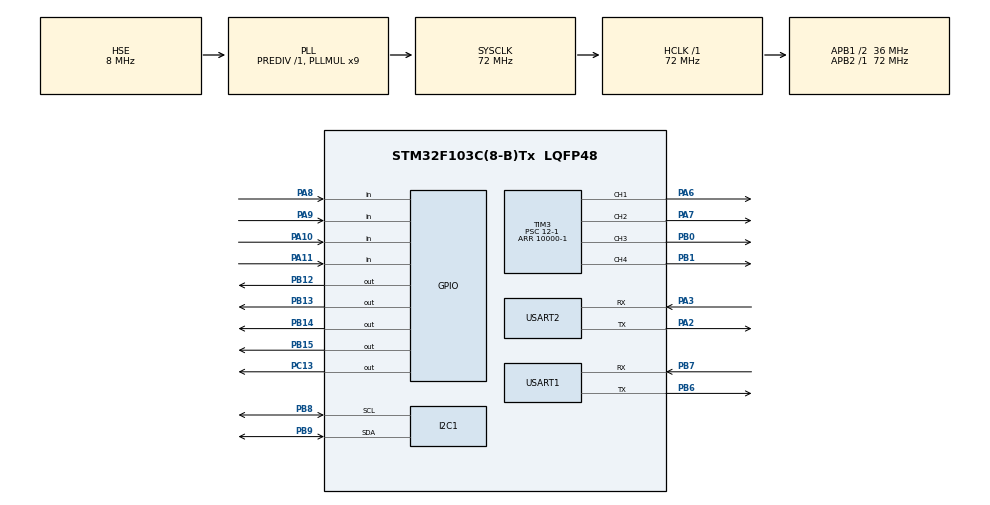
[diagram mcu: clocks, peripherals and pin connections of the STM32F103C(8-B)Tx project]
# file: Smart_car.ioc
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Mcu.Family=STM32F1
Mcu.Name=STM32F103C(8-B)Tx
Mcu.Package=LQFP48
NVIC.PriorityGroup=NVIC_PRIORITYGROUP_4
NVIC.TIM2_IRQn=true\:0\:0\:false\:false\:true\:true\:true\:true
NVIC.USART2_IRQn=true\:0\:0\:false\:false\:true\:true\:true\:true
PA10.GPIO_PuPd=GPIO_PULLUP
PA10.Signal=GPIO_Input
PA11.GPIO_PuPd=GPIO_PULLUP
PA11.Signal=GPIO_Input
PA13.Mode=Serial_Wire
PA13.Signal=SYS_JTMS-SWDIO
PA14.Mode=Serial_Wire
PA14.Signal=SYS_JTCK-SWCLK
PA2.Mode=Asynchronous
PA2.Signal=USART2_TX
PA3.Mode=Asynchronous
PA3.Signal=USART2_RX
PA6.Signal=S_TIM3_CH1
PA7.Signal=S_TIM3_CH2
PA8.GPIO_PuPd=GPIO_PULLUP
PA8.Signal=GPIO_Input
PA9.Signal=GPIO_Input
PB0.Signal=S_TIM3_CH3
PB1.Signal=S_TIM3_CH4
PB10.Signal=I2C2_SCL
PB11.Signal=I2C2_SDA
PB12.Signal=GPIO_Output
PB13.Signal=GPIO_Output
PB14.Signal=GPIO_Output
PB15.Signal=GPIO_Output
PB6.Mode=Asynchronous
PB6.Signal=USART1_TX
PB7.Mode=Asynchronous
PB7.Signal=USART1_RX
PB8.Mode=I2C
PB8.Signal=I2C1_SCL
PB9.Mode=I2C
PB9.Signal=I2C1_SDA
PC13-TAMPER-RTC.Signal=GPIO_Output
PD0-OSC_IN.Mode=HSE-External-Oscillator
PD0-OSC_IN.Signal=RCC_OSC_IN
PD1-OSC_OUT.Mode=HSE-External-Oscillator
PD1-OSC_OUT.Signal=RCC_OSC_OUT
ProjectManager.HeapSize=0x200
ProjectManager.StackSize=0x400
ProjectManager.TargetToolchain=MDK-ARM V5.32
RCC.AHBFreq_Value=72000000
RCC.APB1CLKDivider=RCC_HCLK_DIV2
RCC.APB1Freq_Value=36000000
RCC.APB1TimFreq_Value=72000000
RCC.APB2Freq_Value=72000000
RCC.APB2TimFreq_Value=72000000
RCC.HCLKFreq_Value=72000000
RCC.PLLMUL=RCC_PLL_MUL9
RCC.PLLSourceVirtual=RCC_PLLSOURCE_HSE
RCC.SYSCLKFreq_VALUE=72000000
RCC.SYSCLKSource=RCC_SYSCLKSOURCE_PLLCLK
RCC.USBFreq_Value=72000000
SH.S_TIM3_CH1.0=TIM3_CH1,PWM Generation1 CH1
SH.S_TIM3_CH2.0=TIM3_CH2,PWM Generation2 CH2
SH.S_TIM3_CH3.0=TIM3_CH3,PWM Generation3 CH3
SH.S_TIM3_CH4.0=TIM3_CH4,PWM Generation4 CH4
TIM2.AutoReloadPreload=TIM_AUTORELOAD_PRELOAD_ENABLE
TIM2.Period=19999
TIM2.Prescaler=719
TIM3.Channel-PWM\ Generation1\ CH1=TIM_CHANNEL_1
TIM3.Channel-PWM\ Generation2\ CH2=TIM_CHANNEL_2
TIM3.Channel-PWM\ Generation3\ CH3=TIM_CHANNEL_3
TIM3.Channel-PWM\ Generation4\ CH4=TIM_CHANNEL_4
TIM3.Period=10000-1
TIM3.Prescaler=12-1
USART1.VirtualMode=VM_ASYNC
USART2.VirtualMode=VM_ASYNC
VP_TIM2_VS_ClockSourceINT.Mode=Internal
VP_TIM3_VS_ClockSourceINT.Mode=Internal
board=custom

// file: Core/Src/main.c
/* USER CODE BEGIN Header */
/**
  ******************************************************************************
  * @file           : main.c
  * @brief          : Main program body
  ******************************************************************************
  * @attention
  *
  * Copyright (c) 2024 STMicroelectronics.
  * All rights reserved.
  *
  * This software is licensed under terms that can be found in the LICENSE file
  * in the root directory of this software component.
  * If no LICENSE file comes with this software, it is provided AS-IS.
  *
  ******************************************************************************
  */
/* USER CODE END Header */
#include "main.h"
#include "i2c.h"
#include "tim.h"
#include "usart.h"
#include "gpio.h"

/* USER CODE BEGIN Includes */
#include "L294N.h"
#include <stdio.h>
#include <String.h>
#include "OLED.h"
#include "vofa.h"
#include "matrix_keyboard.h"
#include "convert.h"
#include "pid.h"
#include "Bluetooth.h"

#include "math.h"
//#include "matrix_keyboard.h"
/* USER CODE BEGIN 4 */

/* USER CODE END 4 */

/* USER CODE END Includes */

void SystemClock_Config(void);

/* USER CODE BEGIN 0 */
int time=0;

int key1=3;

float a=0;
float t;
float b=10;

extern tPid pidMotor1Speed;
int flag1=1;

double Wave1=10;

double Wave2=10;

double pi=3.1415;

extern uint8_t rx_buff;

double A =2;  // 幅值
double B =4;
double sin_x;  // 计算正弦值
double K =0;
double T =6.28;

/* USER CODE END 0 */

int main(void)
{

  /* MCU Configuration--------------------------------------------------------*/

  /* Reset of all peripherals, Initializes the Flash interface and the Systick. */
  HAL_Init();

  /* Configure the system clock */
  SystemClock_Config();

  /* Initialize all configured peripherals */
  MX_GPIO_Init();
  MX_TIM2_Init();
  MX_TIM3_Init();
  MX_USART2_UART_Init();
  MX_I2C1_Init();
  MX_USART1_UART_Init();
  /* USER CODE BEGIN 2 */

  OLED_Init();
	PID_init();
	//HAL_UART_Receive_IT(&huart2,(uint8_t *)&USART2_RX_BUF,1);
	HAL_UART_Receive_IT(&huart1,(uint8_t *)&USART1_NewData,1);
	HAL_UART_Receive_IT(&huart2, (uint8_t *)&rx_buff, 1);
//	HAL_UART_Receive_IT(&huart2,(uint8_t *)&USART2_NewData,1);
  __HAL_TIM_CLEAR_IT(&htim2, TIM_IT_UPDATE);

  HAL_TIM_Base_Start_IT(&htim2);
	//HAL_TIM_Base_Start_IT(&htim2);

  HAL_TIM_PWM_Start(&htim3,TIM_CHANNEL_1);
  HAL_TIM_PWM_Start(&htim3,TIM_CHANNEL_2);
  HAL_TIM_PWM_Start(&htim3,TIM_CHANNEL_3);
  HAL_TIM_PWM_Start(&htim3,TIM_CHANNEL_4);

  /* USER CODE END 2 */

  /* Infinite loop */
  /* USER CODE BEGIN WHILE */

  while (1)
  {

//		for(K=0;K<T;K+=0.01){
//
//
//			if(K>=T){K=0;}
//    Wave1 = A*sin(K*pi);
//
//		Wave2 = B*sin(K*pi);
//
//
//		vodka_JustFloat_send(&huart2);
//		}
//		vodka_JustFloat_send(&huart2);

	/*	key1=Key_Scan();

		if(key1!=0){
		OLED_Clear();
		//OLED_ShowNum(1,1,key1,3,16);

	}
	OLED_Showdecimal(0,0,num,3,1,16);
	OLED_Showdecimal(0,2,num2,3,1,16);
	OLED_Showdecimal(0,4,num3,3,1,16);

	if(num=='u'){
	Forward();
	}
	if(num=='l'){
	Left();
	}
	if(num=='r'){
	Right();
	}
	if(num=='d'){
	Back();
	}
	if(num=='0'){
	Reset();
	}*/

//OLED_Showdecimal(0,6,USART1_RX_STA,3,1,16);

	    /* PID_realize(&pidMotor1Speed,t);

        t+= 0.01*PID_x(set_Speed,t,0,0.1,3.5); //（目标值，现值，p,i,d）

        if (t >= set_Speed&&flag1==1)   // 达到上限或下限时改变方向
        {
            set_Speed = -set_Speed;    //set_Speed是极值
					flag1=0;
        }
				 if (t <= set_Speed&&flag1==0)   // 达到上限或下限时改变方向
        {
            set_Speed = -set_Speed;

					flag1=1;
        }

	*/

 // printf("%d",a);

	 	//TargetTracking();
		// HAL_GPIO_WritePin(LED_GPIO_Port, LED_Pin, GPIO_PIN_RESET);

		 //OLED_ShowNum(1,1,key1,3,16);
		// OLED_Draw12864BMP(1);
		//Forward();

    /* USER CODE END WHILE */

  }
}

void SystemClock_Config(void)
{
  RCC_OscInitTypeDef RCC_OscInitStruct = {0};
  RCC_ClkInitTypeDef RCC_ClkInitStruct = {0};

  /** Initializes the RCC Oscillators according to the specified parameters
  * in the RCC_OscInitTypeDef structure.
  */
  RCC_OscInitStruct.OscillatorType = RCC_OSCILLATORTYPE_HSE;
  RCC_OscInitStruct.HSEState = RCC_HSE_ON;
  RCC_OscInitStruct.HSEPredivValue = RCC_HSE_PREDIV_DIV1;
  RCC_OscInitStruct.HSIState = RCC_HSI_ON;
  RCC_OscInitStruct.PLL.PLLState = RCC_PLL_ON;
  RCC_OscInitStruct.PLL.PLLSource = RCC_PLLSOURCE_HSE;
  RCC_OscInitStruct.PLL.PLLMUL = RCC_PLL_MUL9;
  if (HAL_RCC_OscConfig(&RCC_OscInitStruct) != HAL_OK)
  {
    Error_Handler();
  }

  /** Initializes the CPU, AHB and APB buses clocks
  */
  RCC_ClkInitStruct.ClockType = RCC_CLOCKTYPE_HCLK|RCC_CLOCKTYPE_SYSCLK
                              |RCC_CLOCKTYPE_PCLK1|RCC_CLOCKTYPE_PCLK2;
  RCC_ClkInitStruct.SYSCLKSource = RCC_SYSCLKSOURCE_PLLCLK;
  RCC_ClkInitStruct.AHBCLKDivider = RCC_SYSCLK_DIV1;
  RCC_ClkInitStruct.APB1CLKDivider = RCC_HCLK_DIV2;
  RCC_ClkInitStruct.APB2CLKDivider = RCC_HCLK_DIV1;

  if (HAL_RCC_ClockConfig(&RCC_ClkInitStruct, FLASH_LATENCY_2) != HAL_OK)
  {
    Error_Handler();
  }
}

/* USER CODE BEGIN 4 */
/*int fputc(int ch, FILE *f)
{
  HAL_UART_Transmit(&huart2, (uint8_t *)&ch, 1, 0xffff);
  return ch;
}

//  * 函数功能: 重定向c库函数getchar,scanf到DEBUG_USARTx
//  * 输入参数: 无
//  * 返 回 值: 无
//  * 说    明：无
//
int fgetc(FILE *f)
{
  uint8_t ch = 0;
  HAL_UART_Receive(&huart2, &ch, 1, 0xffff);
  return ch;
}*/

/*
char order;//指令 0:停止  1:开始
char message[]="hello windows！\n";//输出信息
char tips[]="CommandError\n";//提示1
char tips1[]="Start.....\n";//提示2
char tips2[]="Stop......\n";//提示3
int flag=0;//标志 0:停止发送 1.开始发送

void  HAL_UART_RxCpltCallback(UART_HandleTypeDef  *huart)//串口中断回调函数
{   unsigned int com_data;
		static unsigned int RxCounter1=0;
		static float RxBuffer1[15]={0};
		static unsigned int RxState = 0;

    if(huart ==&huart2)
    {
        if((USART2_RX_STA&0x8000)==0)//接收未完成
        {
            if(USART2_NewData==0x5A)//接收到了0x5A
            {
                 USART2_RX_STA|=0x8000;   //接收完成了，将USART2_RX_STA中的bit15（15位）置1
            }
            else
            {
                   USART2_RX_BUF[USART2_RX_STA&0X7FFF]=USART2_NewData; //将收到的数据放入数组，
                   USART2_RX_STA++;  //数据长度计数加1
                   if(USART2_RX_STA>(USART2_REC_LEN-1))USART2_RX_STA=0;//接收数据错误,重新开始接收

            }
        }

        HAL_UART_Receive_IT(&huart2,(uint8_t *)&USART2_NewData,1); //因为每执行完一次中断回调函数会将接收中断功能关闭，所以最后需要再开启接收中断

    }
}

*/

//void HAL_TIM_PeriodElapsedCallback(TIM_HandleTypeDef *htim)
//{
//
//    if (htim == (&htim2))
//    {
//        HAL_GPIO_TogglePin(GPIOC, GPIO_PIN_13);
//    }
//}

/* USER CODE END 4 */

void Error_Handler(void)
{
  __disable_irq();
  while (1)
  {
  }
}
